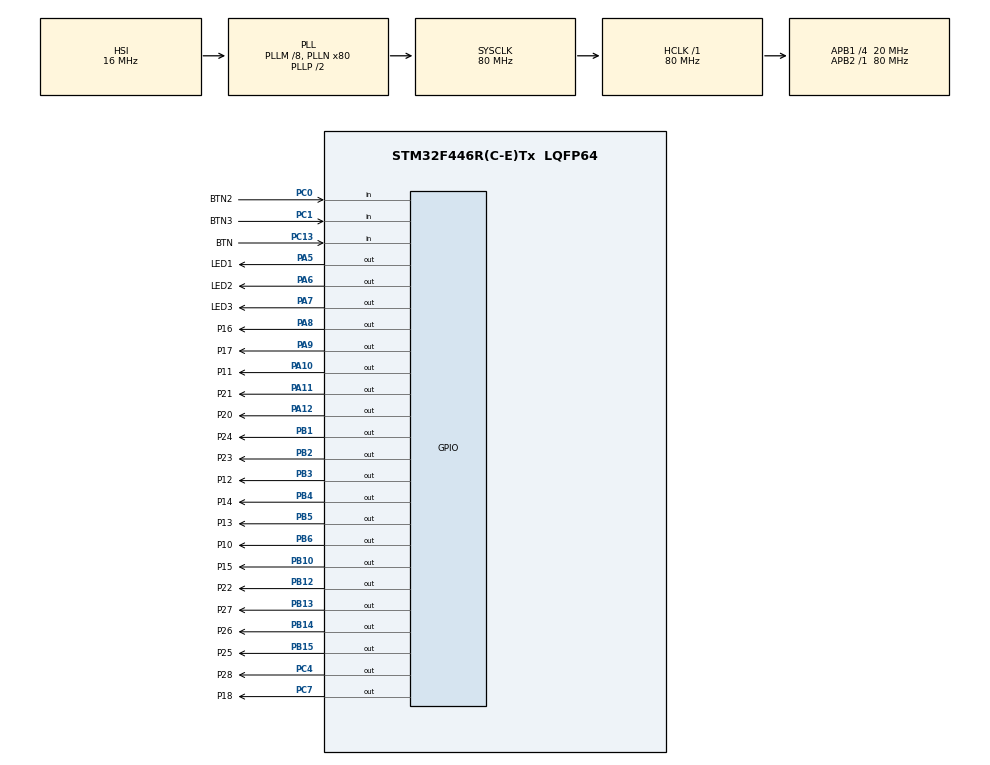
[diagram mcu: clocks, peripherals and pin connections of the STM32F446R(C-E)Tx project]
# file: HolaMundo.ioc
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Mcu.Family=STM32F4
Mcu.Name=STM32F446R(C-E)Tx
Mcu.Package=LQFP64
NVIC.PriorityGroup=NVIC_PRIORITYGROUP_0
PA10.GPIO_Label=P11
PA10.Signal=GPIO_Output
PA11.GPIO_Label=P21
PA11.Signal=GPIO_Output
PA12.GPIO_Label=P20
PA12.Signal=GPIO_Output
PA13.Mode=Serial_Wire
PA13.Signal=SYS_JTMS-SWDIO
PA14.Mode=Serial_Wire
PA14.Signal=SYS_JTCK-SWCLK
PA5.GPIO_Label=LED1
PA5.Signal=GPIO_Output
PA6.GPIO_Label=LED2
PA6.Signal=GPIO_Output
PA7.GPIO_Label=LED3
PA7.Signal=GPIO_Output
PA8.GPIO_Label=P16
PA8.Signal=GPIO_Output
PA9.GPIO_Label=P17
PA9.Signal=GPIO_Output
PB1.GPIO_Label=P24
PB1.Signal=GPIO_Output
PB10.GPIO_Label=P15
PB10.Signal=GPIO_Output
PB12.GPIO_Label=P22
PB12.Signal=GPIO_Output
PB13.GPIO_Label=P27
PB13.Signal=GPIO_Output
PB14.GPIO_Label=P26
PB14.Signal=GPIO_Output
PB15.GPIO_Label=P25
PB15.Signal=GPIO_Output
PB2.GPIO_Label=P23
PB2.Signal=GPIO_Output
PB3.GPIO_Label=P12
PB3.Signal=GPIO_Output
PB4.GPIO_Label=P14
PB4.Signal=GPIO_Output
PB5.GPIO_Label=P13
PB5.Signal=GPIO_Output
PB6.GPIO_Label=P10
PB6.Signal=GPIO_Output
PC0.GPIO_Label=BTN2
PC0.Signal=GPIO_Input
PC1.GPIO_Label=BTN3
PC1.Signal=GPIO_Input
PC13.GPIO_Label=BTN
PC13.Signal=GPIO_Input
PC4.GPIO_Label=P28
PC4.Signal=GPIO_Output
PC7.GPIO_Label=P18
PC7.Signal=GPIO_Output
ProjectManager.HeapSize=0x200
ProjectManager.StackSize=0x400
ProjectManager.TargetToolchain=STM32CubeIDE
RCC.48MHZClocksFreq_Value=84000000
RCC.AHBFreq_Value=80000000
RCC.APB1CLKDivider=RCC_HCLK_DIV4
RCC.APB1Freq_Value=20000000
RCC.APB1TimFreq_Value=40000000
RCC.APB2Freq_Value=80000000
RCC.APB2TimFreq_Value=80000000
RCC.CortexFreq_Value=80000000
RCC.FLatency-AdvancedSettings=FLASH_LATENCY_2
RCC.HCLKFreq_Value=80000000
RCC.HSE_VALUE=25000000
RCC.HSI_VALUE=16000000
RCC.PLLM=8
RCC.PLLN=80
RCC.SYSCLKFreq_VALUE=80000000
RCC.SYSCLKSource=RCC_SYSCLKSOURCE_PLLCLK
RCC.USBFreq_Value=80000000
RCC.VCOOutputFreq_Value=160000000
board=NUCLEO-F446RE

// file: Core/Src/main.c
/* USER CODE BEGIN Header */
/**
  ******************************************************************************
  * @file           : main.c
  * @brief          : Main program body
  ******************************************************************************
  * @attention
  *
  * Copyright (c) 2024 STMicroelectronics.
  * All rights reserved.
  *
  * This software is licensed under terms that can be found in the LICENSE file
  * in the root directory of this software component.
  * If no LICENSE file comes with this software, it is provided AS-IS.
  *
  ******************************************************************************
  */
/* USER CODE END Header */
#include "main.h"

/* USER CODE BEGIN PV */
uint8_t contador = 0;
uint8_t FlagInitGame = 0;
uint8_t P1_Points = 0;
uint8_t P2_Points = 0;
uint8_t Playable = 0;

uint8_t winner1 = 0;
uint8_t winner2 = 0;

/* USER CODE END PV */

void SystemClock_Config(void);
static void MX_GPIO_Init(void);

int main(void)
{

  /* MCU Configuration--------------------------------------------------------*/

  /* Reset of all peripherals, Initializes the Flash interface and the Systick. */
  HAL_Init();

  /* Configure the system clock */
  SystemClock_Config();

  /* Initialize all configured peripherals */
  MX_GPIO_Init();

  /* Infinite loop */
  /* USER CODE BEGIN WHILE */
  while (1)
  {
	// Si este boton es precionado, encender bandera de inicio de juego
	//  Apagar LEDs de los ganadores
	if(HAL_GPIO_ReadPin(BTN_GPIO_Port, BTN_Pin) == 0){
		FlagInitGame = 1;
		HAL_GPIO_WritePin(P20_GPIO_Port, P20_Pin, 0);
		HAL_GPIO_WritePin(P10_GPIO_Port, P10_Pin, 0);
		/*
		HAL_GPIO_WritePin(P21_GPIO_Port, P21_Pin, 1);
		HAL_GPIO_WritePin(P22_GPIO_Port, P22_Pin, 1);
		HAL_GPIO_WritePin(P23_GPIO_Port, P23_Pin, 1);
		HAL_GPIO_WritePin(P24_GPIO_Port, P24_Pin, 1);
		HAL_GPIO_WritePin(P25_GPIO_Port, P25_Pin, 1);
		HAL_GPIO_WritePin(P26_GPIO_Port, P26_Pin, 1);
		HAL_GPIO_WritePin(P27_GPIO_Port, P27_Pin, 1);
		HAL_GPIO_WritePin(P28_GPIO_Port, P28_Pin, 1);*/
	}
	// Si la bandera esta encendida, proceder con la secuencia de inicio
	// La secuencia de incio es, prender los leds con un intervalo de tiempo
	// de por medio.
	if(FlagInitGame == 1){
		P1_Points = 0;
		P2_Points = 0;
		HAL_GPIO_WritePin(LED1_GPIO_Port, LED1_Pin, 1);
		HAL_Delay(300);
		HAL_GPIO_WritePin(LED2_GPIO_Port, LED2_Pin, 1);
		HAL_Delay(300);
		HAL_GPIO_WritePin(LED3_GPIO_Port, LED3_Pin, 1);
		HAL_Delay(300);
		FlagInitGame = 0;
		Playable = 1;
	}

	if (Playable == 1){
		// Apaga las leds de la secuencia de inicio
		HAL_GPIO_WritePin(LED1_GPIO_Port, LED1_Pin, 0);
		HAL_GPIO_WritePin(LED2_GPIO_Port, LED2_Pin, 0);
		HAL_GPIO_WritePin(LED3_GPIO_Port, LED3_Pin, 0);
		// Si se preciona el boton BTN2, verificar si contador < 8,
		// Si si lo es, sumar puntos, sino establecer banderas en 0
		// Establecer bandera ganador y apagar led de otro jugador
		if(HAL_GPIO_ReadPin(BTN2_GPIO_Port, BTN2_Pin) == 0){
			if(P1_Points < 8){
			P1_Points++;
			HAL_Delay(150);
			} else{
				P1_Points = 0;
				winner1=1;
				Playable=0;
				HAL_GPIO_WritePin(P20_GPIO_Port, P20_Pin, 0);
			}
		}
		// Si se preciona el boton BTN3, verificar si contador < 8,
		// Si si lo es, sumar puntos, sino establecer banderas en 0
		// Establecer bandera ganador y apagar led de otro jugador
		if(HAL_GPIO_ReadPin(BTN3_GPIO_Port, BTN3_Pin) == 0){
			if(P2_Points < 8){
			P2_Points++;
			HAL_Delay(200);
			} else{
				P2_Points = 0;
				winner2=1;
				Playable=0;
				HAL_GPIO_WritePin(P10_GPIO_Port, P10_Pin, 0);
			}
		}

	}
	// Verificar que jugador gano y prender su respectivo LED
	if (winner1 == 1){
		HAL_GPIO_WritePin(P10_GPIO_Port, P10_Pin, 1);

	}
	if (winner2 == 1){
		HAL_GPIO_WritePin(P20_GPIO_Port, P20_Pin, 1);
		}
	// Verificar los puntos de cada jugador y en funcion del
	// puntaje, prender dicho led en una secuencia de forma
	// contador de decadas.
	if(P1_Points==0){
		HAL_GPIO_WritePin(P11_GPIO_Port, P11_Pin, 0);
		HAL_GPIO_WritePin(P12_GPIO_Port, P12_Pin, 0);
		HAL_GPIO_WritePin(P13_GPIO_Port, P13_Pin, 0);
		HAL_GPIO_WritePin(P14_GPIO_Port, P14_Pin, 0);
		HAL_GPIO_WritePin(P15_GPIO_Port, P15_Pin, 0);
		HAL_GPIO_WritePin(P16_GPIO_Port, P16_Pin, 0);
		HAL_GPIO_WritePin(P17_GPIO_Port, P17_Pin, 0);
		HAL_GPIO_WritePin(P18_GPIO_Port, P18_Pin, 0);
	}
	if(P1_Points==1){
		HAL_GPIO_WritePin(P11_GPIO_Port, P11_Pin, 1);
		HAL_GPIO_WritePin(P12_GPIO_Port, P12_Pin, 0);
		HAL_GPIO_WritePin(P13_GPIO_Port, P13_Pin, 0);
		HAL_GPIO_WritePin(P14_GPIO_Port, P14_Pin, 0);
		HAL_GPIO_WritePin(P15_GPIO_Port, P15_Pin, 0);
		HAL_GPIO_WritePin(P16_GPIO_Port, P16_Pin, 0);
		HAL_GPIO_WritePin(P17_GPIO_Port, P17_Pin, 0);
		HAL_GPIO_WritePin(P18_GPIO_Port, P18_Pin, 0);
	}
	if(P1_Points==2){
		HAL_GPIO_WritePin(P11_GPIO_Port, P11_Pin, 0);
		HAL_GPIO_WritePin(P12_GPIO_Port, P12_Pin, 1);
		HAL_GPIO_WritePin(P13_GPIO_Port, P13_Pin, 0);
		HAL_GPIO_WritePin(P14_GPIO_Port, P14_Pin, 0);
		HAL_GPIO_WritePin(P15_GPIO_Port, P15_Pin, 0);
		HAL_GPIO_WritePin(P16_GPIO_Port, P16_Pin, 0);
		HAL_GPIO_WritePin(P17_GPIO_Port, P17_Pin, 0);
		HAL_GPIO_WritePin(P18_GPIO_Port, P18_Pin, 0);
	}
	if(P1_Points==3){
		HAL_GPIO_WritePin(P11_GPIO_Port, P11_Pin, 0);
		HAL_GPIO_WritePin(P12_GPIO_Port, P12_Pin, 0);
		HAL_GPIO_WritePin(P13_GPIO_Port, P13_Pin, 1);
		HAL_GPIO_WritePin(P14_GPIO_Port, P14_Pin, 0);
		HAL_GPIO_WritePin(P15_GPIO_Port, P15_Pin, 0);
		HAL_GPIO_WritePin(P16_GPIO_Port, P16_Pin, 0);
		HAL_GPIO_WritePin(P17_GPIO_Port, P17_Pin, 0);
		HAL_GPIO_WritePin(P18_GPIO_Port, P18_Pin, 0);
	}
	if(P1_Points==4){
		HAL_GPIO_WritePin(P11_GPIO_Port, P11_Pin, 0);
		HAL_GPIO_WritePin(P12_GPIO_Port, P12_Pin, 0);
		HAL_GPIO_WritePin(P13_GPIO_Port, P13_Pin, 0);
		HAL_GPIO_WritePin(P14_GPIO_Port, P14_Pin, 1);
		HAL_GPIO_WritePin(P15_GPIO_Port, P15_Pin, 0);
		HAL_GPIO_WritePin(P16_GPIO_Port, P16_Pin, 0);
		HAL_GPIO_WritePin(P17_GPIO_Port, P17_Pin, 0);
		HAL_GPIO_WritePin(P18_GPIO_Port, P18_Pin, 0);
	}
	if(P1_Points==5){
		HAL_GPIO_WritePin(P11_GPIO_Port, P11_Pin, 0);
		HAL_GPIO_WritePin(P12_GPIO_Port, P12_Pin, 0);
		HAL_GPIO_WritePin(P13_GPIO_Port, P13_Pin, 0);
		HAL_GPIO_WritePin(P14_GPIO_Port, P14_Pin, 0);
		HAL_GPIO_WritePin(P15_GPIO_Port, P15_Pin, 1);
		HAL_GPIO_WritePin(P16_GPIO_Port, P16_Pin, 0);
		HAL_GPIO_WritePin(P17_GPIO_Port, P17_Pin, 0);
		HAL_GPIO_WritePin(P18_GPIO_Port, P18_Pin, 0);
	}
	if(P1_Points==6){
		HAL_GPIO_WritePin(P11_GPIO_Port, P11_Pin, 0);
		HAL_GPIO_WritePin(P12_GPIO_Port, P12_Pin, 0);
		HAL_GPIO_WritePin(P13_GPIO_Port, P13_Pin, 0);
		HAL_GPIO_WritePin(P14_GPIO_Port, P14_Pin, 0);
		HAL_GPIO_WritePin(P15_GPIO_Port, P15_Pin, 0);
		HAL_GPIO_WritePin(P16_GPIO_Port, P16_Pin, 1);
		HAL_GPIO_WritePin(P17_GPIO_Port, P17_Pin, 0);
		HAL_GPIO_WritePin(P18_GPIO_Port, P18_Pin, 0);
	}
	if(P1_Points==7){
		HAL_GPIO_WritePin(P11_GPIO_Port, P11_Pin, 0);
		HAL_GPIO_WritePin(P12_GPIO_Port, P12_Pin, 0);
		HAL_GPIO_WritePin(P13_GPIO_Port, P13_Pin, 0);
		HAL_GPIO_WritePin(P14_GPIO_Port, P14_Pin, 0);
		HAL_GPIO_WritePin(P15_GPIO_Port, P15_Pin, 0);
		HAL_GPIO_WritePin(P16_GPIO_Port, P16_Pin, 0);
		HAL_GPIO_WritePin(P17_GPIO_Port, P17_Pin, 1);
		HAL_GPIO_WritePin(P18_GPIO_Port, P18_Pin, 0);
	}
	if(P1_Points==8){
		HAL_GPIO_WritePin(P11_GPIO_Port, P11_Pin, 0);
		HAL_GPIO_WritePin(P12_GPIO_Port, P12_Pin, 0);
		HAL_GPIO_WritePin(P13_GPIO_Port, P13_Pin, 0);
		HAL_GPIO_WritePin(P14_GPIO_Port, P14_Pin, 0);
		HAL_GPIO_WritePin(P15_GPIO_Port, P15_Pin, 0);
		HAL_GPIO_WritePin(P16_GPIO_Port, P16_Pin, 0);
		HAL_GPIO_WritePin(P17_GPIO_Port, P17_Pin, 0);
		HAL_GPIO_WritePin(P18_GPIO_Port, P18_Pin, 1);
	}

	// PLAYER 2

	if(P2_Points==0){
		HAL_GPIO_WritePin(P21_GPIO_Port, P21_Pin, 0);
		HAL_GPIO_WritePin(P22_GPIO_Port, P22_Pin, 0);
		HAL_GPIO_WritePin(P23_GPIO_Port, P23_Pin, 0);
		HAL_GPIO_WritePin(P24_GPIO_Port, P24_Pin, 0);
		HAL_GPIO_WritePin(P25_GPIO_Port, P25_Pin, 0);
		HAL_GPIO_WritePin(P26_GPIO_Port, P26_Pin, 0);
		HAL_GPIO_WritePin(P27_GPIO_Port, P27_Pin, 0);
		HAL_GPIO_WritePin(P28_GPIO_Port, P28_Pin, 0);
	}
	if(P2_Points==1){
		HAL_GPIO_WritePin(P21_GPIO_Port, P21_Pin, 1);
		HAL_GPIO_WritePin(P22_GPIO_Port, P22_Pin, 0);
		HAL_GPIO_WritePin(P23_GPIO_Port, P23_Pin, 0);
		HAL_GPIO_WritePin(P24_GPIO_Port, P24_Pin, 0);
		HAL_GPIO_WritePin(P25_GPIO_Port, P25_Pin, 0);
		HAL_GPIO_WritePin(P26_GPIO_Port, P26_Pin, 0);
		HAL_GPIO_WritePin(P27_GPIO_Port, P27_Pin, 0);
		HAL_GPIO_WritePin(P28_GPIO_Port, P28_Pin, 0);
	}
	if(P2_Points==2){
		HAL_GPIO_WritePin(P21_GPIO_Port, P21_Pin, 0);
		HAL_GPIO_WritePin(P22_GPIO_Port, P22_Pin, 1);
		HAL_GPIO_WritePin(P23_GPIO_Port, P23_Pin, 0);
		HAL_GPIO_WritePin(P24_GPIO_Port, P24_Pin, 0);
		HAL_GPIO_WritePin(P25_GPIO_Port, P25_Pin, 0);
		HAL_GPIO_WritePin(P26_GPIO_Port, P26_Pin, 0);
		HAL_GPIO_WritePin(P27_GPIO_Port, P27_Pin, 0);
		HAL_GPIO_WritePin(P28_GPIO_Port, P28_Pin, 0);
	}
	if(P2_Points==3){
		HAL_GPIO_WritePin(P21_GPIO_Port, P21_Pin, 0);
		HAL_GPIO_WritePin(P22_GPIO_Port, P22_Pin, 0);
		HAL_GPIO_WritePin(P23_GPIO_Port, P23_Pin, 1);
		HAL_GPIO_WritePin(P24_GPIO_Port, P24_Pin, 0);
		HAL_GPIO_WritePin(P25_GPIO_Port, P25_Pin, 0);
		HAL_GPIO_WritePin(P26_GPIO_Port, P26_Pin, 0);
		HAL_GPIO_WritePin(P27_GPIO_Port, P27_Pin, 0);
		HAL_GPIO_WritePin(P28_GPIO_Port, P28_Pin, 0);
	}
	if(P2_Points==4){
		HAL_GPIO_WritePin(P21_GPIO_Port, P21_Pin, 0);
		HAL_GPIO_WritePin(P22_GPIO_Port, P22_Pin, 0);
		HAL_GPIO_WritePin(P23_GPIO_Port, P23_Pin, 0);
		HAL_GPIO_WritePin(P24_GPIO_Port, P24_Pin, 1);
		HAL_GPIO_WritePin(P25_GPIO_Port, P25_Pin, 0);
		HAL_GPIO_WritePin(P26_GPIO_Port, P26_Pin, 0);
		HAL_GPIO_WritePin(P27_GPIO_Port, P27_Pin, 0);
		HAL_GPIO_WritePin(P28_GPIO_Port, P28_Pin, 0);
	}
	if(P2_Points==5){
		HAL_GPIO_WritePin(P21_GPIO_Port, P21_Pin, 0);
		HAL_GPIO_WritePin(P22_GPIO_Port, P22_Pin, 0);
		HAL_GPIO_WritePin(P23_GPIO_Port, P23_Pin, 0);
		HAL_GPIO_WritePin(P24_GPIO_Port, P24_Pin, 0);
		HAL_GPIO_WritePin(P25_GPIO_Port, P25_Pin, 1);
		HAL_GPIO_WritePin(P26_GPIO_Port, P26_Pin, 0);
		HAL_GPIO_WritePin(P27_GPIO_Port, P27_Pin, 0);
		HAL_GPIO_WritePin(P28_GPIO_Port, P28_Pin, 0);
	}
	if(P2_Points==6){
		HAL_GPIO_WritePin(P21_GPIO_Port, P21_Pin, 0);
		HAL_GPIO_WritePin(P22_GPIO_Port, P22_Pin, 0);
		HAL_GPIO_WritePin(P23_GPIO_Port, P23_Pin, 0);
		HAL_GPIO_WritePin(P24_GPIO_Port, P24_Pin, 0);
		HAL_GPIO_WritePin(P25_GPIO_Port, P25_Pin, 0);
		HAL_GPIO_WritePin(P26_GPIO_Port, P26_Pin, 1);
		HAL_GPIO_WritePin(P27_GPIO_Port, P27_Pin, 0);
		HAL_GPIO_WritePin(P28_GPIO_Port, P28_Pin, 0);
	}
	if(P2_Points==7){
		HAL_GPIO_WritePin(P21_GPIO_Port, P21_Pin, 0);
		HAL_GPIO_WritePin(P22_GPIO_Port, P22_Pin, 0);
		HAL_GPIO_WritePin(P23_GPIO_Port, P23_Pin, 0);
		HAL_GPIO_WritePin(P24_GPIO_Port, P24_Pin, 0);
		HAL_GPIO_WritePin(P25_GPIO_Port, P25_Pin, 0);
		HAL_GPIO_WritePin(P26_GPIO_Port, P26_Pin, 0);
		HAL_GPIO_WritePin(P27_GPIO_Port, P27_Pin, 1);
		HAL_GPIO_WritePin(P28_GPIO_Port, P28_Pin, 0);
	}
	if(P2_Points==8){
		HAL_GPIO_WritePin(P21_GPIO_Port, P21_Pin, 0);
		HAL_GPIO_WritePin(P22_GPIO_Port, P22_Pin, 0);
		HAL_GPIO_WritePin(P23_GPIO_Port, P23_Pin, 0);
		HAL_GPIO_WritePin(P24_GPIO_Port, P24_Pin, 0);
		HAL_GPIO_WritePin(P25_GPIO_Port, P25_Pin, 0);
		HAL_GPIO_WritePin(P26_GPIO_Port, P26_Pin, 0);
		HAL_GPIO_WritePin(P27_GPIO_Port, P27_Pin, 0);
		HAL_GPIO_WritePin(P28_GPIO_Port, P28_Pin, 1);
	}

    /* USER CODE END WHILE */

  }
}

void SystemClock_Config(void)
{
  RCC_OscInitTypeDef RCC_OscInitStruct = {0};
  RCC_ClkInitTypeDef RCC_ClkInitStruct = {0};

  /** Configure the main internal regulator output voltage
  */
  __HAL_RCC_PWR_CLK_ENABLE();
  __HAL_PWR_VOLTAGESCALING_CONFIG(PWR_REGULATOR_VOLTAGE_SCALE3);

  /** Initializes the RCC Oscillators according to the specified parameters
  * in the RCC_OscInitTypeDef structure.
  */
  RCC_OscInitStruct.OscillatorType = RCC_OSCILLATORTYPE_HSI;
  RCC_OscInitStruct.HSIState = RCC_HSI_ON;
  RCC_OscInitStruct.HSICalibrationValue = RCC_HSICALIBRATION_DEFAULT;
  RCC_OscInitStruct.PLL.PLLState = RCC_PLL_ON;
  RCC_OscInitStruct.PLL.PLLSource = RCC_PLLSOURCE_HSI;
  RCC_OscInitStruct.PLL.PLLM = 8;
  RCC_OscInitStruct.PLL.PLLN = 80;
  RCC_OscInitStruct.PLL.PLLP = RCC_PLLP_DIV2;
  RCC_OscInitStruct.PLL.PLLQ = 2;
  RCC_OscInitStruct.PLL.PLLR = 2;
  if (HAL_RCC_OscConfig(&RCC_OscInitStruct) != HAL_OK)
  {
    Error_Handler();
  }

  /** Initializes the CPU, AHB and APB buses clocks
  */
  RCC_ClkInitStruct.ClockType = RCC_CLOCKTYPE_HCLK|RCC_CLOCKTYPE_SYSCLK
                              |RCC_CLOCKTYPE_PCLK1|RCC_CLOCKTYPE_PCLK2;
  RCC_ClkInitStruct.SYSCLKSource = RCC_SYSCLKSOURCE_PLLCLK;
  RCC_ClkInitStruct.AHBCLKDivider = RCC_SYSCLK_DIV1;
  RCC_ClkInitStruct.APB1CLKDivider = RCC_HCLK_DIV4;
  RCC_ClkInitStruct.APB2CLKDivider = RCC_HCLK_DIV1;

  if (HAL_RCC_ClockConfig(&RCC_ClkInitStruct, FLASH_LATENCY_2) != HAL_OK)
  {
    Error_Handler();
  }
}

static void MX_GPIO_Init(void)
{
  GPIO_InitTypeDef GPIO_InitStruct = {0};

  /* GPIO Ports Clock Enable */
  __HAL_RCC_GPIOC_CLK_ENABLE();
  __HAL_RCC_GPIOA_CLK_ENABLE();
  __HAL_RCC_GPIOB_CLK_ENABLE();

  /*Configure GPIO pin Output Level */
  HAL_GPIO_WritePin(GPIOA, LED1_Pin|LED2_Pin|LED3_Pin|P16_Pin
                          |P17_Pin|P11_Pin|P21_Pin|P20_Pin, GPIO_PIN_RESET);

  /*Configure GPIO pin Output Level */
  HAL_GPIO_WritePin(GPIOC, P28_Pin|P18_Pin, GPIO_PIN_RESET);

  /*Configure GPIO pin Output Level */
  HAL_GPIO_WritePin(GPIOB, P24_Pin|P23_Pin|P15_Pin|P22_Pin
                          |P27_Pin|P26_Pin|P25_Pin|P12_Pin
                          |P14_Pin|P13_Pin|P10_Pin, GPIO_PIN_RESET);

  /*Configure GPIO pins : BTN_Pin BTN2_Pin BTN3_Pin */
  GPIO_InitStruct.Pin = BTN_Pin|BTN2_Pin|BTN3_Pin;
  GPIO_InitStruct.Mode = GPIO_MODE_INPUT;
  GPIO_InitStruct.Pull = GPIO_NOPULL;
  HAL_GPIO_Init(GPIOC, &GPIO_InitStruct);

  /*Configure GPIO pins : LED1_Pin LED2_Pin LED3_Pin P16_Pin
                           P17_Pin P11_Pin P21_Pin P20_Pin */
  GPIO_InitStruct.Pin = LED1_Pin|LED2_Pin|LED3_Pin|P16_Pin
                          |P17_Pin|P11_Pin|P21_Pin|P20_Pin;
  GPIO_InitStruct.Mode = GPIO_MODE_OUTPUT_PP;
  GPIO_InitStruct.Pull = GPIO_NOPULL;
  GPIO_InitStruct.Speed = GPIO_SPEED_FREQ_LOW;
  HAL_GPIO_Init(GPIOA, &GPIO_InitStruct);

  /*Configure GPIO pins : P28_Pin P18_Pin */
  GPIO_InitStruct.Pin = P28_Pin|P18_Pin;
  GPIO_InitStruct.Mode = GPIO_MODE_OUTPUT_PP;
  GPIO_InitStruct.Pull = GPIO_NOPULL;
  GPIO_InitStruct.Speed = GPIO_SPEED_FREQ_LOW;
  HAL_GPIO_Init(GPIOC, &GPIO_InitStruct);

  /*Configure GPIO pins : P24_Pin P23_Pin P15_Pin P22_Pin
                           P27_Pin P26_Pin P25_Pin P12_Pin
                           P14_Pin P13_Pin P10_Pin */
  GPIO_InitStruct.Pin = P24_Pin|P23_Pin|P15_Pin|P22_Pin
                          |P27_Pin|P26_Pin|P25_Pin|P12_Pin
                          |P14_Pin|P13_Pin|P10_Pin;
  GPIO_InitStruct.Mode = GPIO_MODE_OUTPUT_PP;
  GPIO_InitStruct.Pull = GPIO_NOPULL;
  GPIO_InitStruct.Speed = GPIO_SPEED_FREQ_LOW;
  HAL_GPIO_Init(GPIOB, &GPIO_InitStruct);

}

void Error_Handler(void)
{
  __disable_irq();
  while (1)
  {
  }
}
